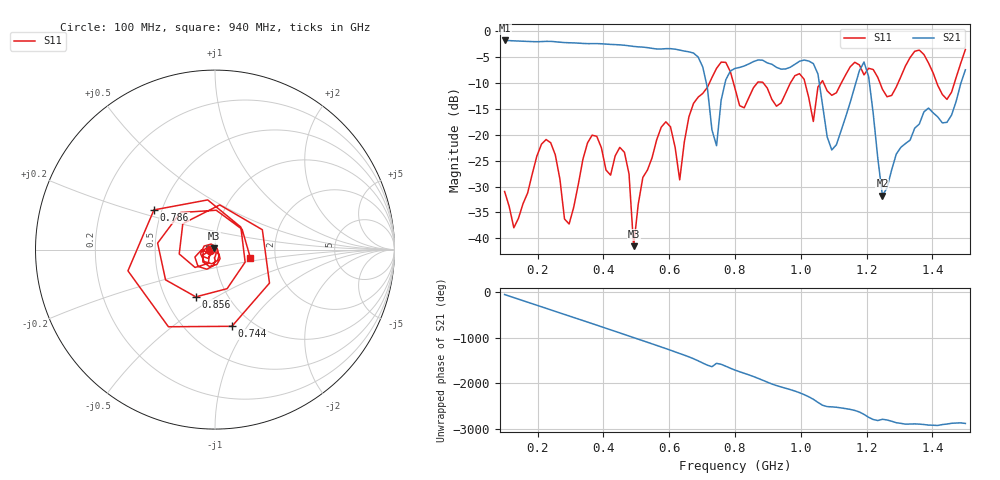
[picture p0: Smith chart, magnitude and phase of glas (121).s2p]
! NanoVNA-App
! Date: 2025-09-25 15:56:25
! Start: 100MHz Stop: 1,5GHz Points: 101
! S-Parameter data: F S11 S21 S12 S22
# Hz S RI R 50
!  Frequency  S11_Real  S11_Imag  S21_Real  S21_Imag  S12_Real  S12_Imag  S22_Real  S22_Imag
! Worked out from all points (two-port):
!   101 points, 100 MHz to 1.5 GHz, reference 50 ohm
!   highest |S21| = -1.80 dB at 100 MHz (marker M1); lowest = -31.8 dB at 1.248 GHz (marker M2)
!   |S21| within 3 dB of the highest: start of sweep to 684.4 MHz
!   lowest |S11| = -41.5 dB at 492 MHz (marker M3), VSWR 1.02, Z = 49.5 + j0.647 ohm
!   |S11| at or under -10 dB: start of sweep to 722.4 MHz; 795.4 MHz to 867.7 MHz (72.29 MHz wide, 8.69 % of centre); 885.8 MHz to 968.4 MHz (82.54 MHz wide, 8.9 % of centre) (the widest 3 of 7)
!   S12 and S22 are empty: the file has one direction only
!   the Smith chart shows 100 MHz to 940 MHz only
!   S11 on the Smith chart (normalised r, x): 100 MHz: 0.95, -0.01; 744 MHz: 0.81, -0.85; 786 MHz: 0.45, +0.24; 856 MHz: 0.71, -0.41; 940 MHz: 1.48, -0.15
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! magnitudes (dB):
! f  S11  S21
! 100 MHz  -31.0  -1.8
! 128 MHz  -38.0  -1.9
! 226 MHz  -20.9  -2.0
! 296 MHz  -37.2  -2.2
! 338 MHz  -24.7  -2.4
! 464 MHz  -23.4  -2.7
! 492 MHz  -41.5  -3.0
! 576 MHz  -18.5  -3.5
! 632 MHz  -28.7  -3.7
! 702 MHz  -12.0  -6.9
! 744 MHz  -7.2  -22.1
! 786 MHz  -7.8  -7.7
! 800 MHz  -11.1  -7.2
! 856 MHz  -10.9  -5.9
! 940 MHz  -13.9  -7.3
! 996 MHz  -8.2  -5.8
! 1.038 GHz  -17.4  -6.3
! 1.094 GHz  -12.4  -22.9
! 1.192 GHz  -8.4  -6.0
! 1.248 GHz  -11.2  -31.8
! 1.276 GHz  -12.4  -26.8
! 1.5 GHz  -3.6  -7.5
